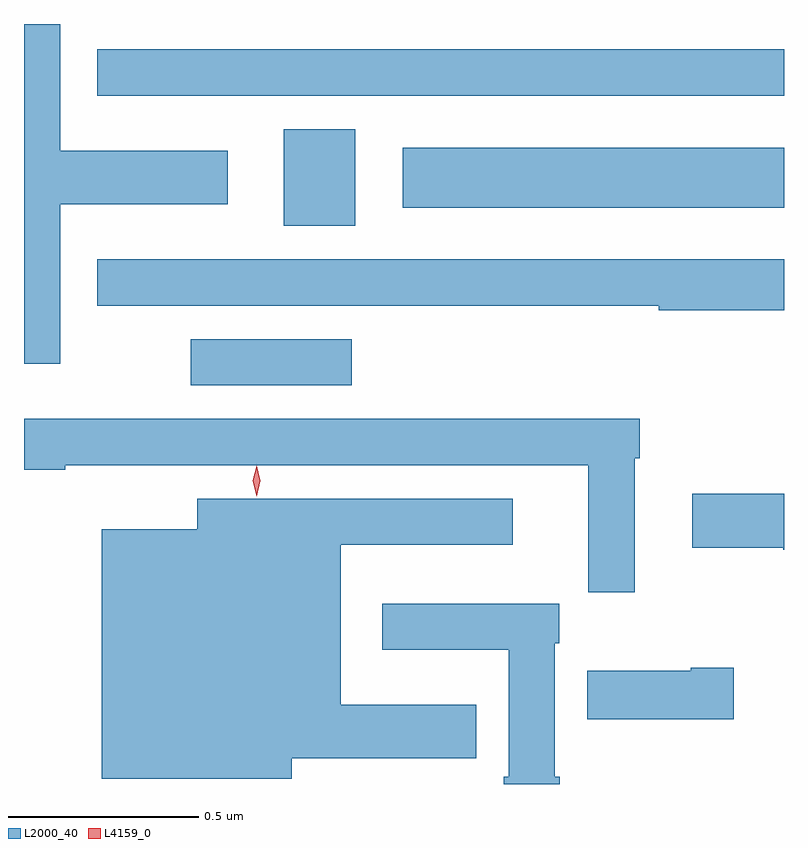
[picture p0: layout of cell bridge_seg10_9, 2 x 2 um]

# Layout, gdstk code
import gdstk
lib = gdstk.Library(unit=1e-6, precision=1e-09)
def R(c, l, rs):  # rectangles x0, y0, x1, y1
    for r in rs: c.add(gdstk.rectangle(r[:2], r[2:], *l))
def P(c, l, *ps):  # polygons
    for p in ps: c.add(gdstk.Polygon(p, *l))
L2000_40 = (2000, 40)
L4159_0 = (4159, 0)

bridge_seg10_9 = lib.new_cell('bridge_seg10_9')
R(bridge_seg10_9, L2000_40, [(1062.333,1283.042,1062.757,1283.164), (1062.578,1283.462,1062.766,1283.716), (1062.891,1283.51,1063.894,1283.668), (1062.087,1283.804,1063.894,1283.926)])
P(bridge_seg10_9, L2000_40, [(1061.989,1283.519),(1062.43,1283.519),(1062.43,1283.659),(1061.989,1283.659),(1061.989,1283.993),(1061.894,1283.993),(1061.894,1283.099),(1061.989,1283.099)],
  [(1063.894,1283.374),(1062.087,1283.374),(1062.087,1283.252),(1063.565,1283.252),(1063.565,1283.24),(1063.894,1283.24)],
  [(1063.501,1282.85),(1063.514,1282.85),(1063.514,1282.954),(1061.894,1282.954),(1061.894,1282.82),(1062.002,1282.82),(1062.002,1282.832),(1063.379,1282.832),(1063.379,1282.497),(1063.501,1282.497)],
  [(1063.894,1282.757),(1063.653,1282.757),(1063.653,1282.615),(1063.892,1282.615),(1063.892,1282.61),(1063.894,1282.61)],
  [(1062.598,1282.061),(1063.084,1282.061),(1063.084,1282.201),(1062.727,1282.201),(1062.727,1282.622),(1063.18,1282.622),(1063.18,1282.744),(1062.35,1282.744),(1062.35,1282.663),(1062.098,1282.663),(1062.098,1282.007),(1062.598,1282.007)],
  [(1063.304,1282.012),(1063.291,1282.012),(1063.291,1282.364),(1063.303,1282.364),(1063.303,1282.468),(1062.837,1282.468),(1062.837,1282.346),(1063.169,1282.346),(1063.169,1282.012),(1063.157,1282.012),(1063.157,1281.993),(1063.304,1281.993)],
  [(1063.762,1282.299),(1063.649,1282.299),(1063.649,1282.291),(1063.376,1282.291),(1063.376,1282.163),(1063.762,1282.163)])
P(bridge_seg10_9, L4159_0, [(1062.506,1282.75),(1062.506,1282.75),(1062.496,1282.791),(1062.506,1282.831),(1062.506,1282.831),(1062.506,1282.831),(1062.516,1282.791),(1062.506,1282.75)])

lib.write_gds('bridge_seg10_9.gds')
